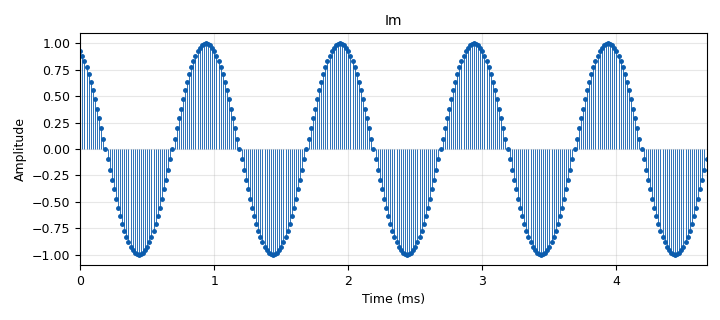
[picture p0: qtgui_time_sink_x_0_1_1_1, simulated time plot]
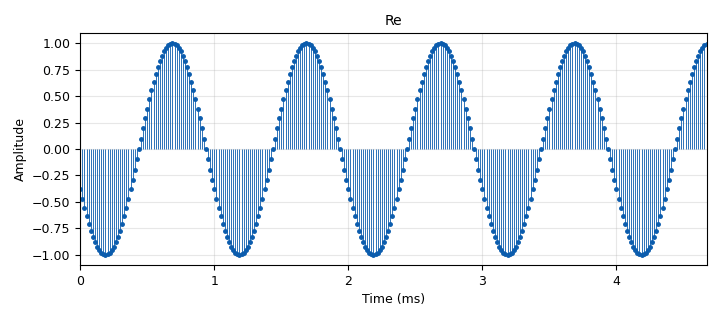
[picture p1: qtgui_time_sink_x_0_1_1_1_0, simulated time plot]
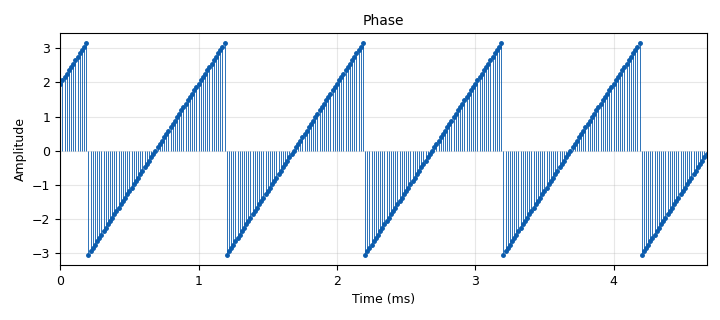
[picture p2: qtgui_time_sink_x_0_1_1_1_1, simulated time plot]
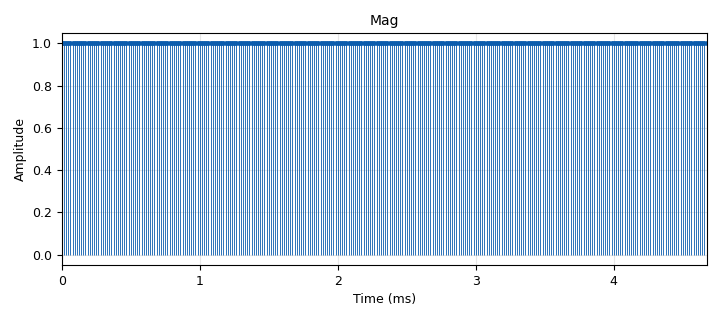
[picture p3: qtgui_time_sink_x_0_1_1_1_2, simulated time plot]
options:
  parameters:
    author: lu
    generate_options: qt_gui
    id: gnu_05
    output_language: python
    title: Not titled yet
  states: {}

blocks:
- name: samp_rate
  id: variable
  parameters:
    value: '64000'
  states: {}
- name: analog_sig_source_x_0_1
  id: analog_sig_source_x
  parameters:
    amp: '1'
    freq: '1000'
    offset: '0'
    phase: '0'
    samp_rate: samp_rate
    type: complex
    waveform: analog.GR_COS_WAVE
  states: {}
- name: blocks_complex_to_float_0
  id: blocks_complex_to_float
  parameters: {}
  states: {}
- name: blocks_complex_to_magphase_0
  id: blocks_complex_to_magphase
  parameters: {}
  states: {}
- name: blocks_throttle2_0_1
  id: blocks_throttle2
  parameters:
    samples_per_second: samp_rate
    type: complex
  states: {}
- name: qtgui_time_sink_x_0_1_1_1
  id: qtgui_time_sink_x
  parameters:
    autoscale: 'True'
    name: '"Im"'
    size: '300'
    srate: samp_rate
    stemplot: 'True'
    type: float
  states: {}
- name: qtgui_time_sink_x_0_1_1_1_0
  id: qtgui_time_sink_x
  parameters:
    autoscale: 'True'
    name: '"Re"'
    size: '300'
    srate: samp_rate
    stemplot: 'True'
    type: float
  states: {}
- name: qtgui_time_sink_x_0_1_1_1_1
  id: qtgui_time_sink_x
  parameters:
    autoscale: 'True'
    name: '"Phase"'
    size: '300'
    srate: samp_rate
    stemplot: 'True'
    type: float
  states: {}
- name: qtgui_time_sink_x_0_1_1_1_2
  id: qtgui_time_sink_x
  parameters:
    autoscale: 'True'
    name: '"Mag"'
    size: '300'
    srate: samp_rate
    stemplot: 'True'
    type: float
  states: {}

connections:
- [analog_sig_source_x_0_1, '0', blocks_throttle2_0_1, '0']
- [blocks_complex_to_float_0, '0', qtgui_time_sink_x_0_1_1_1_0, '0']
- [blocks_complex_to_float_0, '1', qtgui_time_sink_x_0_1_1_1, '0']
- [blocks_complex_to_magphase_0, '0', qtgui_time_sink_x_0_1_1_1_2, '0']
- [blocks_complex_to_magphase_0, '1', qtgui_time_sink_x_0_1_1_1_1, '0']
- [blocks_throttle2_0_1, '0', blocks_complex_to_float_0, '0']
- [blocks_throttle2_0_1, '0', blocks_complex_to_magphase_0, '0']

metadata:
  file_format: 1
  grc_version: 3.10.9.2
